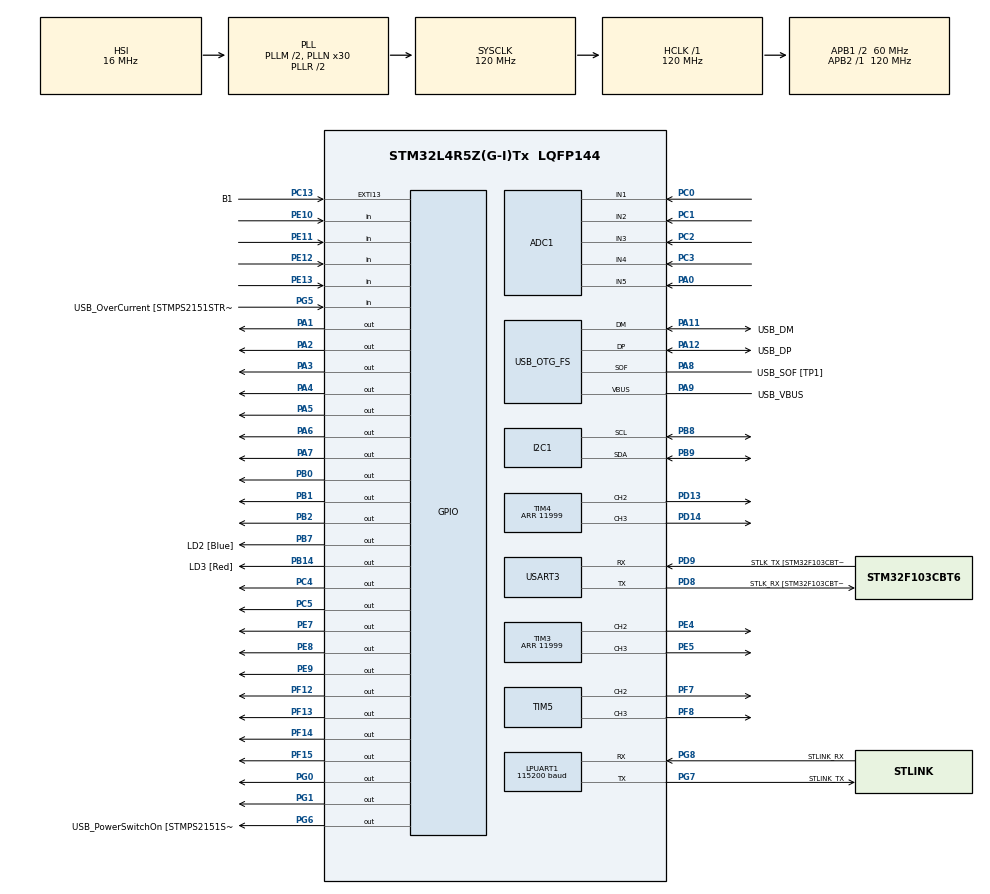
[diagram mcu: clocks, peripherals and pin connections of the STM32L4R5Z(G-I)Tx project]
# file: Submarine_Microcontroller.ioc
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ADC1.Channel-0\#ChannelRegularConversion=ADC_CHANNEL_1
ADC1.NbrOfConversionFlag=1
ADC1.OffsetNumber-0\#ChannelRegularConversion=ADC_OFFSET_NONE
ADC1.Rank-0\#ChannelRegularConversion=1
ADC1.SamplingTime-0\#ChannelRegularConversion=ADC_SAMPLETIME_2CYCLES_5
ADC1.master=1
I2C1.Timing=0x107075B0
LPUART1.BaudRate=115200
LPUART1.WordLength=UART_WORDLENGTH_8B
Mcu.Family=STM32L4
Mcu.Name=STM32L4R5Z(G-I)Tx
Mcu.Package=LQFP144
NVIC.LPUART1_IRQn=true\:0\:0\:false\:false\:true\:true\:true\:true
NVIC.PriorityGroup=NVIC_PRIORITYGROUP_4
PA0.Signal=ADCx_IN5
PA1.Signal=GPIO_Output
PA10.GPIO_Label=USB_ID
PA10.Signal=USB_OTG_FS_ID
PA11.GPIO_Label=USB_DM
PA11.Mode=Device_Only
PA11.Signal=USB_OTG_FS_DM
PA12.GPIO_Label=USB_DP
PA12.Mode=Device_Only
PA12.Signal=USB_OTG_FS_DP
PA13\ (JTMS/SWDIO).GPIO_Label=TMS
PA13\ (JTMS/SWDIO).Mode=Trace_Asynchronous_SW
PA13\ (JTMS/SWDIO).Signal=SYS_JTMS-SWDIO
PA14\ (JTCK/SWCLK).GPIO_Label=TCK
PA14\ (JTCK/SWCLK).Mode=Trace_Asynchronous_SW
PA14\ (JTCK/SWCLK).Signal=SYS_JTCK-SWCLK
PA2.Signal=GPIO_Output
PA3.Signal=GPIO_Output
PA4.Signal=GPIO_Output
PA5.Signal=GPIO_Output
PA6.Signal=GPIO_Output
PA7.Signal=GPIO_Output
PA8.GPIO_Label=USB_SOF [TP1]
PA8.Mode=Activate_SOF_FS
PA8.Signal=USB_OTG_FS_SOF
PA9.GPIO_Label=USB_VBUS
PA9.Mode=Activate_VBUS
PA9.Signal=USB_OTG_FS_VBUS
PB0.Signal=GPIO_Output
PB1.Signal=GPIO_Output
PB14.GPIO_Label=LD3 [Red]
PB14.Signal=GPIO_Output
PB2.Signal=GPIO_Output
PB3\ (JTDO/TRACESWO).GPIO_Label=SWO
PB3\ (JTDO/TRACESWO).Mode=Trace_Asynchronous_SW
PB3\ (JTDO/TRACESWO).Signal=SYS_JTDO-SWO
PB7.GPIO_Label=LD2 [Blue]
PB7.Signal=GPIO_Output
PB8.Mode=I2C
PB8.Signal=I2C1_SCL
PB9.Mode=I2C
PB9.Signal=I2C1_SDA
PC0.Signal=ADCx_IN1
PC1.Signal=ADCx_IN2
PC13.GPIO_Label=B1
PC13.Signal=GPXTI13
PC14-OSC32_IN\ (PC14).Signal=RCC_OSC32_IN
PC15-OSC32_OUT\ (PC15).Signal=RCC_OSC32_OUT
PC2.Signal=ADCx_IN3
PC3.Signal=ADCx_IN4
PC4.Signal=GPIO_Output
PC5.Signal=GPIO_Output
PD13.Signal=S_TIM4_CH2
PD14.Signal=S_TIM4_CH3
PD8.GPIO_Label=STLK_RX [STM32F103CBT6_PA3]
PD8.GPIO_Speed=GPIO_SPEED_FREQ_HIGH
PD8.Mode=Asynchronous
PD8.Signal=USART3_TX
PD9.GPIO_Label=STLK_TX [STM32F103CBT6_PA2]
PD9.GPIO_Speed=GPIO_SPEED_FREQ_HIGH
PD9.Mode=Asynchronous
PD9.Signal=USART3_RX
PE10.Signal=GPIO_Input
PE11.Signal=GPIO_Input
PE12.Signal=GPIO_Input
PE13.Signal=GPIO_Input
PE4.Signal=S_TIM3_CH2
PE5.Signal=S_TIM3_CH3
PE7.Signal=GPIO_Output
PE8.Signal=GPIO_Output
PE9.Signal=GPIO_Output
PF12.Signal=GPIO_Output
PF13.Signal=GPIO_Output
PF14.Signal=GPIO_Output
PF15.Signal=GPIO_Output
PF7.Signal=S_TIM5_CH2
PF8.Signal=S_TIM5_CH3
PG0.Signal=GPIO_Output
PG1.Signal=GPIO_Output
PG5.GPIO_Label=USB_OverCurrent [STMPS2151STR_FAULT]
PG5.Signal=GPIO_Input
PG6.GPIO_Label=USB_PowerSwitchOn [STMPS2151STR_EN]
PG6.Signal=GPIO_Output
PG7.GPIO_Label=STLINK_TX
PG7.Mode=Asynchronous
PG7.Signal=LPUART1_TX
PG8.GPIO_Label=STLINK_RX
PG8.Mode=Asynchronous
PG8.Signal=LPUART1_RX
PH0-OSC_IN\ (PH0).Mode=HSE-External-Oscillator
PH0-OSC_IN\ (PH0).Signal=RCC_OSC_IN
PH1-OSC_OUT\ (PH1).Mode=HSE-External-Oscillator
PH1-OSC_OUT\ (PH1).Signal=RCC_OSC_OUT
ProjectManager.HeapSize=0x200
ProjectManager.StackSize=0x400
ProjectManager.TargetToolchain=STM32CubeIDE
RCC.48MHZClocksFreq_Value=24000000
RCC.ADCFreq_Value=48000000
RCC.AHBFreq_Value=120000000
RCC.APB1CLKDivider=RCC_HCLK_DIV2
RCC.APB1Freq_Value=60000000
RCC.APB1TimFreq_Value=120000000
RCC.APB2Freq_Value=120000000
RCC.APB2TimFreq_Value=120000000
RCC.CK48CLockSelection=RCC_USBCLKSOURCE_HSI48
RCC.CortexFreq_Value=120000000
RCC.HCLKFreq_Value=120000000
RCC.HSE_VALUE=8000000
RCC.HSI48_VALUE=48000000
RCC.HSI_VALUE=16000000
RCC.LSE_VALUE=32768
RCC.MSI_VALUE=4000000
RCC.PLLM1=2
RCC.PLLM2=2
RCC.PLLMUL=RCC_PLL_MUL9
RCC.PLLN=30
RCC.PLLSAI1N=12
RCC.PLLSourceVirtual=RCC_PLLSOURCE_HSI
RCC.PRESCALERUSB=RCC_USBCLKSOURCE_PLL_DIV1_5
RCC.SYSCLKFreq_VALUE=120000000
RCC.SYSCLKSource=RCC_SYSCLKSOURCE_PLLCLK
RCC.SYSCLKSourceVirtual=RCC_SYSCLKSOURCE_PLLCLK
RCC.USBFreq_Value=48000000
RCC.VCOOutputFreq_Value=240000000
SH.ADCx_IN1.0=ADC1_IN1,IN1-Single-Ended
SH.ADCx_IN2.0=ADC1_IN2,IN2-Single-Ended
SH.ADCx_IN3.0=ADC1_IN3,IN3-Single-Ended
SH.ADCx_IN4.0=ADC1_IN4,IN4-Single-Ended
SH.ADCx_IN5.0=ADC1_IN5,IN5-Single-Ended
SH.S_TIM3_CH2.0=TIM3_CH2,PWM Generation2 CH2
SH.S_TIM3_CH3.0=TIM3_CH3,PWM Generation3 CH3
SH.S_TIM4_CH2.0=TIM4_CH2,PWM Generation2 CH2
SH.S_TIM4_CH3.0=TIM4_CH3,PWM Generation3 CH3
SH.S_TIM5_CH2.0=TIM5_CH2,PWM Generation2 CH2
SH.S_TIM5_CH3.0=TIM5_CH3,PWM Generation3 CH3
TIM3.AutoReloadPreload=TIM_AUTORELOAD_PRELOAD_ENABLE
TIM3.Channel-PWM\ Generation2\ CH2=TIM_CHANNEL_2
TIM3.Channel-PWM\ Generation3\ CH3=TIM_CHANNEL_3
TIM3.Period=11999
TIM4.AutoReloadPreload=TIM_AUTORELOAD_PRELOAD_ENABLE
TIM4.Channel-PWM\ Generation2\ CH2=TIM_CHANNEL_2
TIM4.Channel-PWM\ Generation3\ CH3=TIM_CHANNEL_3
TIM4.Period=11999
TIM5.Channel-PWM\ Generation2\ CH2=TIM_CHANNEL_2
TIM5.Channel-PWM\ Generation3\ CH3=TIM_CHANNEL_3
USART3.VirtualMode-Asynchronous=VM_ASYNC
USB_OTG_FS.VirtualMode=Device_Only
VP_TIM3_VS_ClockSourceINT.Mode=Internal
VP_TIM4_VS_ClockSourceINT.Mode=Internal
VP_TIM5_VS_ClockSourceINT.Mode=Internal
board=NUCLEO-L4R5ZI

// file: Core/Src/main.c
/* USER CODE BEGIN Header */
/**
  ******************************************************************************
  * @file           : main.c
  * @brief          : Main program body
  ******************************************************************************
  * @attention
  *
  * Copyright (c) 2023 STMicroelectronics.
  * All rights reserved.
  *
  * This software is licensed under terms that can be found in the LICENSE file
  * in the root directory of this software component.
  * If no LICENSE file comes with this software, it is provided AS-IS.
  *
  ******************************************************************************
  */
/* USER CODE END Header */
#include "main.h"

/* USER CODE BEGIN Includes */
#include "string.h"
#include "math.h"
#include "stdio.h"
/* USER CODE END Includes */

/* USER CODE BEGIN PD */
//GLOBAL I2C Addresses
#define ACCEL_GYRO_ADR 0x6a
#define MAG_ADR 0x1c

//gyro
#define OUTX_L_G (0x22 | 0x01)
#define OUTX_H_G (0x23 | 0x01)
#define OUTY_L_G (0x24 | 0x01)
#define OUTY_H_G (0x25 | 0x01)
#define OUTZ_L_G (0x26 | 0x01)
#define OUTZ_H_G (0x27 | 0x01)
//accel
#define OUTX_L_XL (0x28 | 0x01)
#define OUTX_H_XL (0x29 | 0x01)
#define OUTY_L_XL (0x2A | 0x01)
#define OUTY_H_XL (0x2B | 0x01)
#define OUTZ_L_XL (0x2C | 0x01)
#define OUTZ_H_XL (0x2D | 0x01)
//magentometer
#define OUT_X_L (0x28 | 0x01)
#define OUT_X_H (0x29 | 0x01)
#define OUT_Y_L (0x2A | 0x01)
#define OUT_Y_H (0x2B | 0x01)
#define OUT_Z_L (0x2C | 0x01)
#define OUT_Z_H (0x2D | 0x01)
/* USER CODE END PD */

ADC_HandleTypeDef hadc1;

I2C_HandleTypeDef hi2c1;

UART_HandleTypeDef hlpuart1;
UART_HandleTypeDef huart3;

TIM_HandleTypeDef htim3;
TIM_HandleTypeDef htim4;
TIM_HandleTypeDef htim5;

PCD_HandleTypeDef hpcd_USB_OTG_FS;

void SystemClock_Config(void);
static void MX_GPIO_Init(void);
static void MX_ADC1_Init(void);
static void MX_I2C1_Init(void);
static void MX_LPUART1_UART_Init(void);
static void MX_USART3_UART_Init(void);
static void MX_USB_OTG_FS_PCD_Init(void);
static void MX_TIM3_Init(void);
static void MX_TIM4_Init(void);
static void MX_TIM5_Init(void);
/* USER CODE BEGIN PFP */
uint8_t binaryToDecimal(int start_index, int bitCount);
HAL_StatusTypeDef imuRead(void);
void imuPullData(void);
uint16_t twosComptoDec(uint8_t low_reg, uint8_t high_reg);

void MTR_DRV_INIT(uint8_t currentValue, uint8_t decay, uint8_t reset, uint8_t sleep);

void parseComs(void);
void transmitData(void);

void updateProps(void);
/* USER CODE END PFP */

/* USER CODE BEGIN 0 */
uint8_t rx_received = 0;
char tx_buffer[100];
uint8_t rx_data[35];

//GLOBAL Coms Info
uint8_t depthUp = 0;
uint8_t depthDown = 0;
uint8_t captureImage = 0;
uint8_t forwardThrust = 128;
uint8_t turnThrust = 128;
uint8_t camUpDown = 128;
uint8_t camLeftRight = 128;

//GLOBAL Data info
uint16_t degreesNorth = 180;
float speedScalar = 10.4;
uint16_t depthApprox = 5;
uint16_t roll = 270;
uint16_t pitch = 270;
uint16_t yaw = 270;
float voltageBattery = 16.9;

//GLOBAL I2C pData registers
uint8_t x_ang_L;
uint8_t x_ang_H;
uint8_t y_ang_L;
uint8_t y_ang_H;
uint8_t z_ang_L;
uint8_t z_ang_H;

uint8_t x_lin_L;
uint8_t x_lin_H;
uint8_t y_lin_L;
uint8_t y_lin_H;
uint8_t z_lin_L;
uint8_t z_lin_H;

uint8_t x_mag_L;
uint8_t x_mag_H;
uint8_t y_mag_L;
uint8_t y_mag_H;
uint8_t z_mag_L;
uint8_t z_mag_H;

//GLOBAL IMU DOF
uint16_t x_ang;
uint16_t y_ang;
uint16_t z_ang;

uint16_t x_lin;
uint16_t y_lin;
uint16_t z_lin;

uint16_t x_mag;
uint16_t y_mag;
uint16_t z_mag;

//GLOBAL PWM
uint16_t ARR = 11999;

//GLOBAL Thrust
float leftThrust;
float rightThrust;
float forThrust;
float backThrust;
float leftPropThrust;
float rightPropThrust;

/* USER CODE END 0 */

int main(void)
{

  /* MCU Configuration--------------------------------------------------------*/

  /* Reset of all peripherals, Initializes the Flash interface and the Systick. */
  HAL_Init();

  /* Configure the system clock */
  SystemClock_Config();

  /* Initialize all configured peripherals */
  MX_GPIO_Init();
  MX_ADC1_Init();
  MX_I2C1_Init();
  MX_LPUART1_UART_Init();
  MX_USART3_UART_Init();
  MX_USB_OTG_FS_PCD_Init();
  MX_TIM3_Init();
  MX_TIM4_Init();
  MX_TIM5_Init();
  /* USER CODE BEGIN 2 */
	MTR_DRV_INIT(0x00, 0x00, 0x01, 0x01);
	HAL_UART_Receive_IT(&hlpuart1, rx_data, 35); //Init recieve global interupt for 35 bit buffer
	HAL_TIM_PWM_Start(&htim3, TIM_CHANNEL_2);
	HAL_TIM_PWM_Start(&htim3, TIM_CHANNEL_3);
	HAL_TIM_PWM_Start(&htim4, TIM_CHANNEL_2);
	HAL_TIM_PWM_Start(&htim4, TIM_CHANNEL_3);
	HAL_TIM_PWM_Start(&htim5, TIM_CHANNEL_2);
	HAL_TIM_PWM_Start(&htim5, TIM_CHANNEL_3);

  /* USER CODE END 2 */

  /* Infinite loop */
  /* USER CODE BEGIN WHILE */
  while (1)
  {

	if (rx_received) //New Transmission from RPI
    {
	  rx_received = 0;
	  parseComs();
	  //imuPullData();
	  updateProps();
	  transmitData();

	}

    /* USER CODE END WHILE */

  }
}

void SystemClock_Config(void)
{
  RCC_OscInitTypeDef RCC_OscInitStruct = {0};
  RCC_ClkInitTypeDef RCC_ClkInitStruct = {0};

  /** Configure the main internal regulator output voltage
  */
  if (HAL_PWREx_ControlVoltageScaling(PWR_REGULATOR_VOLTAGE_SCALE1_BOOST) != HAL_OK)
  {
    Error_Handler();
  }

  /** Initializes the RCC Oscillators according to the specified parameters
  * in the RCC_OscInitTypeDef structure.
  */
  RCC_OscInitStruct.OscillatorType = RCC_OSCILLATORTYPE_HSI48|RCC_OSCILLATORTYPE_HSI;
  RCC_OscInitStruct.HSIState = RCC_HSI_ON;
  RCC_OscInitStruct.HSI48State = RCC_HSI48_ON;
  RCC_OscInitStruct.HSICalibrationValue = RCC_HSICALIBRATION_DEFAULT;
  RCC_OscInitStruct.PLL.PLLState = RCC_PLL_ON;
  RCC_OscInitStruct.PLL.PLLSource = RCC_PLLSOURCE_HSI;
  RCC_OscInitStruct.PLL.PLLM = 2;
  RCC_OscInitStruct.PLL.PLLN = 30;
  RCC_OscInitStruct.PLL.PLLP = RCC_PLLP_DIV2;
  RCC_OscInitStruct.PLL.PLLQ = RCC_PLLQ_DIV2;
  RCC_OscInitStruct.PLL.PLLR = RCC_PLLR_DIV2;
  if (HAL_RCC_OscConfig(&RCC_OscInitStruct) != HAL_OK)
  {
    Error_Handler();
  }

  /** Initializes the CPU, AHB and APB buses clocks
  */
  RCC_ClkInitStruct.ClockType = RCC_CLOCKTYPE_HCLK|RCC_CLOCKTYPE_SYSCLK
                              |RCC_CLOCKTYPE_PCLK1|RCC_CLOCKTYPE_PCLK2;
  RCC_ClkInitStruct.SYSCLKSource = RCC_SYSCLKSOURCE_PLLCLK;
  RCC_ClkInitStruct.AHBCLKDivider = RCC_SYSCLK_DIV1;
  RCC_ClkInitStruct.APB1CLKDivider = RCC_HCLK_DIV2;
  RCC_ClkInitStruct.APB2CLKDivider = RCC_HCLK_DIV1;

  if (HAL_RCC_ClockConfig(&RCC_ClkInitStruct, FLASH_LATENCY_5) != HAL_OK)
  {
    Error_Handler();
  }
}

static void MX_ADC1_Init(void)
{

  ADC_ChannelConfTypeDef sConfig = {0};

  /** Common config
  */
  hadc1.Instance = ADC1;
  hadc1.Init.ClockPrescaler = ADC_CLOCK_ASYNC_DIV1;
  hadc1.Init.Resolution = ADC_RESOLUTION_12B;
  hadc1.Init.DataAlign = ADC_DATAALIGN_RIGHT;
  hadc1.Init.ScanConvMode = ADC_SCAN_DISABLE;
  hadc1.Init.EOCSelection = ADC_EOC_SINGLE_CONV;
  hadc1.Init.LowPowerAutoWait = DISABLE;
  hadc1.Init.ContinuousConvMode = DISABLE;
  hadc1.Init.NbrOfConversion = 1;
  hadc1.Init.DiscontinuousConvMode = DISABLE;
  hadc1.Init.ExternalTrigConv = ADC_SOFTWARE_START;
  hadc1.Init.ExternalTrigConvEdge = ADC_EXTERNALTRIGCONVEDGE_NONE;
  hadc1.Init.DMAContinuousRequests = DISABLE;
  hadc1.Init.Overrun = ADC_OVR_DATA_PRESERVED;
  hadc1.Init.OversamplingMode = DISABLE;
  hadc1.Init.DFSDMConfig = ADC_DFSDM_MODE_ENABLE;
  if (HAL_ADC_Init(&hadc1) != HAL_OK)
  {
    Error_Handler();
  }

  /** Configure Regular Channel
  */
  sConfig.Channel = ADC_CHANNEL_1;
  sConfig.Rank = ADC_REGULAR_RANK_1;
  sConfig.SamplingTime = ADC_SAMPLETIME_2CYCLES_5;
  sConfig.SingleDiff = ADC_SINGLE_ENDED;
  sConfig.OffsetNumber = ADC_OFFSET_NONE;
  sConfig.Offset = 0;
  if (HAL_ADC_ConfigChannel(&hadc1, &sConfig) != HAL_OK)
  {
    Error_Handler();
  }

}

static void MX_I2C1_Init(void)
{

  hi2c1.Instance = I2C1;
  hi2c1.Init.Timing = 0x107075B0;
  hi2c1.Init.OwnAddress1 = 0;
  hi2c1.Init.AddressingMode = I2C_ADDRESSINGMODE_7BIT;
  hi2c1.Init.DualAddressMode = I2C_DUALADDRESS_DISABLE;
  hi2c1.Init.OwnAddress2 = 0;
  hi2c1.Init.OwnAddress2Masks = I2C_OA2_NOMASK;
  hi2c1.Init.GeneralCallMode = I2C_GENERALCALL_DISABLE;
  hi2c1.Init.NoStretchMode = I2C_NOSTRETCH_DISABLE;
  if (HAL_I2C_Init(&hi2c1) != HAL_OK)
  {
    Error_Handler();
  }

  /** Configure Analogue filter
  */
  if (HAL_I2CEx_ConfigAnalogFilter(&hi2c1, I2C_ANALOGFILTER_ENABLE) != HAL_OK)
  {
    Error_Handler();
  }

  /** Configure Digital filter
  */
  if (HAL_I2CEx_ConfigDigitalFilter(&hi2c1, 0) != HAL_OK)
  {
    Error_Handler();
  }

}

static void MX_LPUART1_UART_Init(void)
{

  hlpuart1.Instance = LPUART1;
  hlpuart1.Init.BaudRate = 115200;
  hlpuart1.Init.WordLength = UART_WORDLENGTH_8B;
  hlpuart1.Init.StopBits = UART_STOPBITS_1;
  hlpuart1.Init.Parity = UART_PARITY_NONE;
  hlpuart1.Init.Mode = UART_MODE_TX_RX;
  hlpuart1.Init.HwFlowCtl = UART_HWCONTROL_NONE;
  hlpuart1.Init.OneBitSampling = UART_ONE_BIT_SAMPLE_DISABLE;
  hlpuart1.Init.ClockPrescaler = UART_PRESCALER_DIV1;
  hlpuart1.AdvancedInit.AdvFeatureInit = UART_ADVFEATURE_NO_INIT;
  hlpuart1.FifoMode = UART_FIFOMODE_DISABLE;
  if (HAL_UART_Init(&hlpuart1) != HAL_OK)
  {
    Error_Handler();
  }
  if (HAL_UARTEx_SetTxFifoThreshold(&hlpuart1, UART_TXFIFO_THRESHOLD_1_8) != HAL_OK)
  {
    Error_Handler();
  }
  if (HAL_UARTEx_SetRxFifoThreshold(&hlpuart1, UART_RXFIFO_THRESHOLD_1_8) != HAL_OK)
  {
    Error_Handler();
  }
  if (HAL_UARTEx_DisableFifoMode(&hlpuart1) != HAL_OK)
  {
    Error_Handler();
  }

}

static void MX_USART3_UART_Init(void)
{

  huart3.Instance = USART3;
  huart3.Init.BaudRate = 115200;
  huart3.Init.WordLength = UART_WORDLENGTH_8B;
  huart3.Init.StopBits = UART_STOPBITS_1;
  huart3.Init.Parity = UART_PARITY_NONE;
  huart3.Init.Mode = UART_MODE_TX_RX;
  huart3.Init.HwFlowCtl = UART_HWCONTROL_NONE;
  huart3.Init.OverSampling = UART_OVERSAMPLING_16;
  huart3.Init.OneBitSampling = UART_ONE_BIT_SAMPLE_DISABLE;
  huart3.Init.ClockPrescaler = UART_PRESCALER_DIV1;
  huart3.AdvancedInit.AdvFeatureInit = UART_ADVFEATURE_NO_INIT;
  if (HAL_UART_Init(&huart3) != HAL_OK)
  {
    Error_Handler();
  }
  if (HAL_UARTEx_SetTxFifoThreshold(&huart3, UART_TXFIFO_THRESHOLD_1_8) != HAL_OK)
  {
    Error_Handler();
  }
  if (HAL_UARTEx_SetRxFifoThreshold(&huart3, UART_RXFIFO_THRESHOLD_1_8) != HAL_OK)
  {
    Error_Handler();
  }
  if (HAL_UARTEx_DisableFifoMode(&huart3) != HAL_OK)
  {
    Error_Handler();
  }

}

static void MX_TIM3_Init(void)
{

  TIM_ClockConfigTypeDef sClockSourceConfig = {0};
  TIM_MasterConfigTypeDef sMasterConfig = {0};
  TIM_OC_InitTypeDef sConfigOC = {0};

  htim3.Instance = TIM3;
  htim3.Init.Prescaler = 0;
  htim3.Init.CounterMode = TIM_COUNTERMODE_UP;
  htim3.Init.Period = 11999;
  htim3.Init.ClockDivision = TIM_CLOCKDIVISION_DIV1;
  htim3.Init.AutoReloadPreload = TIM_AUTORELOAD_PRELOAD_ENABLE;
  if (HAL_TIM_Base_Init(&htim3) != HAL_OK)
  {
    Error_Handler();
  }
  sClockSourceConfig.ClockSource = TIM_CLOCKSOURCE_INTERNAL;
  if (HAL_TIM_ConfigClockSource(&htim3, &sClockSourceConfig) != HAL_OK)
  {
    Error_Handler();
  }
  if (HAL_TIM_PWM_Init(&htim3) != HAL_OK)
  {
    Error_Handler();
  }
  sMasterConfig.MasterOutputTrigger = TIM_TRGO_RESET;
  sMasterConfig.MasterSlaveMode = TIM_MASTERSLAVEMODE_DISABLE;
  if (HAL_TIMEx_MasterConfigSynchronization(&htim3, &sMasterConfig) != HAL_OK)
  {
    Error_Handler();
  }
  sConfigOC.OCMode = TIM_OCMODE_PWM1;
  sConfigOC.Pulse = 0;
  sConfigOC.OCPolarity = TIM_OCPOLARITY_HIGH;
  sConfigOC.OCFastMode = TIM_OCFAST_DISABLE;
  if (HAL_TIM_PWM_ConfigChannel(&htim3, &sConfigOC, TIM_CHANNEL_2) != HAL_OK)
  {
    Error_Handler();
  }
  if (HAL_TIM_PWM_ConfigChannel(&htim3, &sConfigOC, TIM_CHANNEL_3) != HAL_OK)
  {
    Error_Handler();
  }
  HAL_TIM_MspPostInit(&htim3);

}

static void MX_TIM4_Init(void)
{

  TIM_ClockConfigTypeDef sClockSourceConfig = {0};
  TIM_MasterConfigTypeDef sMasterConfig = {0};
  TIM_OC_InitTypeDef sConfigOC = {0};

  htim4.Instance = TIM4;
  htim4.Init.Prescaler = 0;
  htim4.Init.CounterMode = TIM_COUNTERMODE_UP;
  htim4.Init.Period = 11999;
  htim4.Init.ClockDivision = TIM_CLOCKDIVISION_DIV1;
  htim4.Init.AutoReloadPreload = TIM_AUTORELOAD_PRELOAD_ENABLE;
  if (HAL_TIM_Base_Init(&htim4) != HAL_OK)
  {
    Error_Handler();
  }
  sClockSourceConfig.ClockSource = TIM_CLOCKSOURCE_INTERNAL;
  if (HAL_TIM_ConfigClockSource(&htim4, &sClockSourceConfig) != HAL_OK)
  {
    Error_Handler();
  }
  if (HAL_TIM_PWM_Init(&htim4) != HAL_OK)
  {
    Error_Handler();
  }
  sMasterConfig.MasterOutputTrigger = TIM_TRGO_RESET;
  sMasterConfig.MasterSlaveMode = TIM_MASTERSLAVEMODE_DISABLE;
  if (HAL_TIMEx_MasterConfigSynchronization(&htim4, &sMasterConfig) != HAL_OK)
  {
    Error_Handler();
  }
  sConfigOC.OCMode = TIM_OCMODE_PWM1;
  sConfigOC.Pulse = 0;
  sConfigOC.OCPolarity = TIM_OCPOLARITY_HIGH;
  sConfigOC.OCFastMode = TIM_OCFAST_DISABLE;
  if (HAL_TIM_PWM_ConfigChannel(&htim4, &sConfigOC, TIM_CHANNEL_2) != HAL_OK)
  {
    Error_Handler();
  }
  if (HAL_TIM_PWM_ConfigChannel(&htim4, &sConfigOC, TIM_CHANNEL_3) != HAL_OK)
  {
    Error_Handler();
  }
  HAL_TIM_MspPostInit(&htim4);

}

static void MX_TIM5_Init(void)
{

  TIM_ClockConfigTypeDef sClockSourceConfig = {0};
  TIM_MasterConfigTypeDef sMasterConfig = {0};
  TIM_OC_InitTypeDef sConfigOC = {0};

  htim5.Instance = TIM5;
  htim5.Init.Prescaler = 0;
  htim5.Init.CounterMode = TIM_COUNTERMODE_UP;
  htim5.Init.Period = 4294967295;
  htim5.Init.ClockDivision = TIM_CLOCKDIVISION_DIV1;
  htim5.Init.AutoReloadPreload = TIM_AUTORELOAD_PRELOAD_DISABLE;
  if (HAL_TIM_Base_Init(&htim5) != HAL_OK)
  {
    Error_Handler();
  }
  sClockSourceConfig.ClockSource = TIM_CLOCKSOURCE_INTERNAL;
  if (HAL_TIM_ConfigClockSource(&htim5, &sClockSourceConfig) != HAL_OK)
  {
    Error_Handler();
  }
  if (HAL_TIM_PWM_Init(&htim5) != HAL_OK)
  {
    Error_Handler();
  }
  sMasterConfig.MasterOutputTrigger = TIM_TRGO_RESET;
  sMasterConfig.MasterSlaveMode = TIM_MASTERSLAVEMODE_DISABLE;
  if (HAL_TIMEx_MasterConfigSynchronization(&htim5, &sMasterConfig) != HAL_OK)
  {
    Error_Handler();
  }
  sConfigOC.OCMode = TIM_OCMODE_PWM1;
  sConfigOC.Pulse = 0;
  sConfigOC.OCPolarity = TIM_OCPOLARITY_HIGH;
  sConfigOC.OCFastMode = TIM_OCFAST_DISABLE;
  if (HAL_TIM_PWM_ConfigChannel(&htim5, &sConfigOC, TIM_CHANNEL_2) != HAL_OK)
  {
    Error_Handler();
  }
  if (HAL_TIM_PWM_ConfigChannel(&htim5, &sConfigOC, TIM_CHANNEL_3) != HAL_OK)
  {
    Error_Handler();
  }
  HAL_TIM_MspPostInit(&htim5);

}

static void MX_USB_OTG_FS_PCD_Init(void)
{

  hpcd_USB_OTG_FS.Instance = USB_OTG_FS;
  hpcd_USB_OTG_FS.Init.dev_endpoints = 6;
  hpcd_USB_OTG_FS.Init.phy_itface = PCD_PHY_EMBEDDED;
  hpcd_USB_OTG_FS.Init.Sof_enable = ENABLE;
  hpcd_USB_OTG_FS.Init.low_power_enable = DISABLE;
  hpcd_USB_OTG_FS.Init.lpm_enable = DISABLE;
  hpcd_USB_OTG_FS.Init.battery_charging_enable = ENABLE;
  hpcd_USB_OTG_FS.Init.use_dedicated_ep1 = DISABLE;
  hpcd_USB_OTG_FS.Init.vbus_sensing_enable = ENABLE;
  if (HAL_PCD_Init(&hpcd_USB_OTG_FS) != HAL_OK)
  {
    Error_Handler();
  }

}

static void MX_GPIO_Init(void)
{
  GPIO_InitTypeDef GPIO_InitStruct = {0};

  /* GPIO Ports Clock Enable */
  __HAL_RCC_GPIOE_CLK_ENABLE();
  __HAL_RCC_GPIOC_CLK_ENABLE();
  __HAL_RCC_GPIOF_CLK_ENABLE();
  __HAL_RCC_GPIOH_CLK_ENABLE();
  __HAL_RCC_GPIOA_CLK_ENABLE();
  __HAL_RCC_GPIOB_CLK_ENABLE();
  __HAL_RCC_GPIOG_CLK_ENABLE();
  __HAL_RCC_GPIOD_CLK_ENABLE();
  HAL_PWREx_EnableVddIO2();

  /*Configure GPIO pin Output Level */
  HAL_GPIO_WritePin(GPIOA, GPIO_PIN_1|GPIO_PIN_2|GPIO_PIN_3|GPIO_PIN_4
                          |GPIO_PIN_5|GPIO_PIN_6|GPIO_PIN_7, GPIO_PIN_RESET);

  /*Configure GPIO pin Output Level */
  HAL_GPIO_WritePin(GPIOC, GPIO_PIN_4|GPIO_PIN_5, GPIO_PIN_RESET);

  /*Configure GPIO pin Output Level */
  HAL_GPIO_WritePin(GPIOB, GPIO_PIN_0|GPIO_PIN_1|GPIO_PIN_2|LD3_Pin
                          |LD2_Pin, GPIO_PIN_RESET);

  /*Configure GPIO pin Output Level */
  HAL_GPIO_WritePin(GPIOF, GPIO_PIN_12|GPIO_PIN_13|GPIO_PIN_14|GPIO_PIN_15, GPIO_PIN_RESET);

  /*Configure GPIO pin Output Level */
  HAL_GPIO_WritePin(GPIOG, GPIO_PIN_0|GPIO_PIN_1|USB_PowerSwitchOn_Pin, GPIO_PIN_RESET);

  /*Configure GPIO pin Output Level */
  HAL_GPIO_WritePin(GPIOE, GPIO_PIN_7|GPIO_PIN_8|GPIO_PIN_9, GPIO_PIN_RESET);

  /*Configure GPIO pin : B1_Pin */
  GPIO_InitStruct.Pin = B1_Pin;
  GPIO_InitStruct.Mode = GPIO_MODE_IT_RISING;
  GPIO_InitStruct.Pull = GPIO_NOPULL;
  HAL_GPIO_Init(B1_GPIO_Port, &GPIO_InitStruct);

  /*Configure GPIO pins : PA1 PA2 PA3 PA4
                           PA5 PA6 PA7 */
  GPIO_InitStruct.Pin = GPIO_PIN_1|GPIO_PIN_2|GPIO_PIN_3|GPIO_PIN_4
                          |GPIO_PIN_5|GPIO_PIN_6|GPIO_PIN_7;
  GPIO_InitStruct.Mode = GPIO_MODE_OUTPUT_PP;
  GPIO_InitStruct.Pull = GPIO_NOPULL;
  GPIO_InitStruct.Speed = GPIO_SPEED_FREQ_LOW;
  HAL_GPIO_Init(GPIOA, &GPIO_InitStruct);

  /*Configure GPIO pins : PC4 PC5 */
  GPIO_InitStruct.Pin = GPIO_PIN_4|GPIO_PIN_5;
  GPIO_InitStruct.Mode = GPIO_MODE_OUTPUT_PP;
  GPIO_InitStruct.Pull = GPIO_NOPULL;
  GPIO_InitStruct.Speed = GPIO_SPEED_FREQ_LOW;
  HAL_GPIO_Init(GPIOC, &GPIO_InitStruct);

  /*Configure GPIO pins : PB0 PB1 PB2 LD3_Pin
                           LD2_Pin */
  GPIO_InitStruct.Pin = GPIO_PIN_0|GPIO_PIN_1|GPIO_PIN_2|LD3_Pin
                          |LD2_Pin;
  GPIO_InitStruct.Mode = GPIO_MODE_OUTPUT_PP;
  GPIO_InitStruct.Pull = GPIO_NOPULL;
  GPIO_InitStruct.Speed = GPIO_SPEED_FREQ_LOW;
  HAL_GPIO_Init(GPIOB, &GPIO_InitStruct);

  /*Configure GPIO pins : PF12 PF13 PF14 PF15 */
  GPIO_InitStruct.Pin = GPIO_PIN_12|GPIO_PIN_13|GPIO_PIN_14|GPIO_PIN_15;
  GPIO_InitStruct.Mode = GPIO_MODE_OUTPUT_PP;
  GPIO_InitStruct.Pull = GPIO_NOPULL;
  GPIO_InitStruct.Speed = GPIO_SPEED_FREQ_LOW;
  HAL_GPIO_Init(GPIOF, &GPIO_InitStruct);

  /*Configure GPIO pins : PG0 PG1 USB_PowerSwitchOn_Pin */
  GPIO_InitStruct.Pin = GPIO_PIN_0|GPIO_PIN_1|USB_PowerSwitchOn_Pin;
  GPIO_InitStruct.Mode = GPIO_MODE_OUTPUT_PP;
  GPIO_InitStruct.Pull = GPIO_NOPULL;
  GPIO_InitStruct.Speed = GPIO_SPEED_FREQ_LOW;
  HAL_GPIO_Init(GPIOG, &GPIO_InitStruct);

  /*Configure GPIO pins : PE7 PE8 PE9 */
  GPIO_InitStruct.Pin = GPIO_PIN_7|GPIO_PIN_8|GPIO_PIN_9;
  GPIO_InitStruct.Mode = GPIO_MODE_OUTPUT_PP;
  GPIO_InitStruct.Pull = GPIO_NOPULL;
  GPIO_InitStruct.Speed = GPIO_SPEED_FREQ_LOW;
  HAL_GPIO_Init(GPIOE, &GPIO_InitStruct);

  /*Configure GPIO pins : PE10 PE11 PE12 PE13 */
  GPIO_InitStruct.Pin = GPIO_PIN_10|GPIO_PIN_11|GPIO_PIN_12|GPIO_PIN_13;
  GPIO_InitStruct.Mode = GPIO_MODE_INPUT;
  GPIO_InitStruct.Pull = GPIO_NOPULL;
  HAL_GPIO_Init(GPIOE, &GPIO_InitStruct);

  /*Configure GPIO pin : USB_OverCurrent_Pin */
  GPIO_InitStruct.Pin = USB_OverCurrent_Pin;
  GPIO_InitStruct.Mode = GPIO_MODE_INPUT;
  GPIO_InitStruct.Pull = GPIO_NOPULL;
  HAL_GPIO_Init(USB_OverCurrent_GPIO_Port, &GPIO_InitStruct);

}

/* USER CODE BEGIN 4 */
void HAL_UART_RxCpltCallback(UART_HandleTypeDef *huart)
{
	UNUSED(huart); //waring suppresion

	//HAL_GPIO_TogglePin(GPIOB, GPIO_PIN_14); //toggle LED for dev
	rx_received = 1;//set flag for use in while loop
	HAL_GPIO_TogglePin(GPIOB, GPIO_PIN_14); //toggle LED for dev
	HAL_UART_Receive_IT(&hlpuart1, rx_data, 35); //reset UART interupt for next transmission
}

uint8_t binaryToDecimal(int start_index, int bitCount)
{
	//MSB is on the left so we start high and go low on the exp
	uint8_t result = 0;
	for (int i = bitCount - 1; i >= 0; i--)
	{
		if (rx_data[start_index + i] == 49)
		{
			result += pow(2, 7 - i);
		}
	}
	return result;
}

HAL_StatusTypeDef imuRead(void)
{
		/*
			HAL_StatusTypeDef HAL_I2C_Mem_Read	(	I2C_HandleTypeDef * 	hi2c,
																						uint16_t 	DevAddress,
																						uint16_t 	MemAddress,
																						uint16_t 	MemAddSize,
																						uint8_t * 	pData,
																						uint16_t 	Size,
																						uint32_t 	Timeout
)
		*/

	HAL_StatusTypeDef retVal = HAL_OK;

	//Gyro
	if (HAL_I2C_Mem_Read(&hi2c1, ACCEL_GYRO_ADR, OUTX_L_G, 1, &x_ang_L, sizeof(x_ang_L), 10) != HAL_OK) retVal = HAL_ERROR;
	if (HAL_I2C_Mem_Read(&hi2c1, ACCEL_GYRO_ADR, OUTX_H_G, 1, &x_ang_H, sizeof(x_ang_H), 10) != HAL_OK) retVal = HAL_ERROR;
	if (HAL_I2C_Mem_Read(&hi2c1, ACCEL_GYRO_ADR, OUTY_L_G, 1, &y_ang_L, sizeof(y_ang_L), 10) != HAL_OK) retVal = HAL_ERROR;
	if (HAL_I2C_Mem_Read(&hi2c1, ACCEL_GYRO_ADR, OUTY_H_G, 1, &y_ang_H, sizeof(y_ang_H), 10) != HAL_OK) retVal = HAL_ERROR;
	if (HAL_I2C_Mem_Read(&hi2c1, ACCEL_GYRO_ADR, OUTZ_L_G, 1, &z_ang_L, sizeof(z_ang_L), 10) != HAL_OK) retVal = HAL_ERROR;
	if (HAL_I2C_Mem_Read(&hi2c1, ACCEL_GYRO_ADR, OUTZ_H_G, 1, &z_ang_H, sizeof(z_ang_H), 10) != HAL_OK) retVal = HAL_ERROR;
	//Accel
	if (HAL_I2C_Mem_Read(&hi2c1, ACCEL_GYRO_ADR, OUTX_L_XL, 1, &x_lin_L, sizeof(x_lin_L), 10) != HAL_OK) retVal = HAL_ERROR;
	if (HAL_I2C_Mem_Read(&hi2c1, ACCEL_GYRO_ADR, OUTX_H_XL, 1, &x_lin_H, sizeof(x_lin_H), 10) != HAL_OK) retVal = HAL_ERROR;
	if (HAL_I2C_Mem_Read(&hi2c1, ACCEL_GYRO_ADR, OUTY_L_XL, 1, &y_lin_L, sizeof(y_lin_L), 10) != HAL_OK) retVal = HAL_ERROR;
	if (HAL_I2C_Mem_Read(&hi2c1, ACCEL_GYRO_ADR, OUTY_H_XL, 1, &y_lin_H, sizeof(y_lin_H), 10) != HAL_OK) retVal = HAL_ERROR;
	if (HAL_I2C_Mem_Read(&hi2c1, ACCEL_GYRO_ADR, OUTZ_L_XL, 1, &z_lin_L, sizeof(z_lin_L), 10) != HAL_OK) retVal = HAL_ERROR;
	if (HAL_I2C_Mem_Read(&hi2c1, ACCEL_GYRO_ADR, OUTZ_H_XL, 1, &z_lin_H, sizeof(z_lin_H), 10) != HAL_OK) retVal = HAL_ERROR;
	//Magnet
	if (HAL_I2C_Mem_Read(&hi2c1, MAG_ADR, OUT_X_L, 1, &x_mag_L, sizeof(x_mag_L), 10) != HAL_OK) retVal = HAL_ERROR;
	if (HAL_I2C_Mem_Read(&hi2c1, MAG_ADR, OUT_X_H, 1, &x_mag_H, sizeof(x_mag_H), 10) != HAL_OK) retVal = HAL_ERROR;
	if (HAL_I2C_Mem_Read(&hi2c1, MAG_ADR, OUT_Y_L, 1, &y_mag_L, sizeof(y_mag_L), 10) != HAL_OK) retVal = HAL_ERROR;
	if (HAL_I2C_Mem_Read(&hi2c1, MAG_ADR, OUT_Y_H, 1, &y_mag_H, sizeof(y_mag_H), 10) != HAL_OK) retVal = HAL_ERROR;
	if (HAL_I2C_Mem_Read(&hi2c1, MAG_ADR, OUT_Z_L, 1, &z_mag_L, sizeof(z_mag_L), 10) != HAL_OK) retVal = HAL_ERROR;
	if (HAL_I2C_Mem_Read(&hi2c1, MAG_ADR, OUT_Z_H, 1, &z_mag_H, sizeof(z_mag_H), 10) != HAL_OK) retVal = HAL_ERROR;

	return retVal;
}

void imuPullData(void)
{
  //Begin reading IMU data
	if (imuRead() == HAL_OK) //If reading without error
	{
		HAL_GPIO_TogglePin(GPIOB, GPIO_PIN_14); //toggle LED for dev
		x_ang = twosComptoDec(x_ang_L, x_ang_H);//get xyz values for all 9DOF
		y_ang = twosComptoDec(y_ang_L, y_ang_H);//will need to do further calc for position, rotation, compass
		z_ang = twosComptoDec(z_ang_L, z_ang_H);

		x_lin = twosComptoDec(x_lin_L, x_lin_H);
		y_lin = twosComptoDec(y_lin_L, y_lin_H);
		z_lin = twosComptoDec(z_lin_L, z_lin_H);

		x_mag = twosComptoDec(x_mag_L, x_mag_H);
		y_mag = twosComptoDec(y_mag_L, y_mag_H);
		z_mag = twosComptoDec(z_mag_L, z_mag_H);
	}
}

uint16_t twosComptoDec(uint8_t low_reg, uint8_t high_reg)
{
	uint16_t combined = ((uint16_t)high_reg << 8) | low_reg;
	if ((combined & 0x8000) == 0) return combined; //negative if top bit is 1
	else return -(~combined + 1);
}

void MTR_DRV_INIT(uint8_t currentValue, uint8_t decay, uint8_t reset, uint8_t sleep)
{
  //Current Set
  /*
    xI1 xI0 current
    0b00 -> 0x0 -> 100%
    0b01 -> 0x1 -> 71%
    0b10 -> 0x2 -> 38%
    0b11 -> 0x3 -> 0%

    AI1 -> PF13
    AI0 -> PF14
    BI1 -> PF15
    BI0 -> PG0

  */
  //xI1
  HAL_GPIO_WritePin(GPIOF, GPIO_PIN_13, (currentValue>>1) & ~0x01);
  HAL_GPIO_WritePin(GPIOF, GPIO_PIN_15, (currentValue>>1) & ~0x01);
  //xI0
  HAL_GPIO_WritePin(GPIOF, GPIO_PIN_14, (currentValue) & ~0x01);
  HAL_GPIO_WritePin(GPIOG, GPIO_PIN_0, (currentValue) & ~0x01);

  //Decay
  HAL_GPIO_WritePin(GPIOE, GPIO_PIN_8, decay);

  //Reset
  HAL_GPIO_WritePin(GPIOG, GPIO_PIN_1, reset);

  //Sleep
  HAL_GPIO_WritePin(GPIOE, GPIO_PIN_7, sleep);

}

void updateProps(void)
{

  //Convert coms thrust vals in percentages for f,b,l,r
  leftThrust = ((float)(-turnThrust + 128))/256.0; // 0% <-> 50%
  rightThrust = ((float)(turnThrust - 128))/256.0; // 0% <-> 50%
  forThrust = ((float)(forwardThrust - 128))/256.0; // 0% <-> 50%
  backThrust = ((float)(-forwardThrust + 128))/256.0; // 0% <-> 50%

  //mix individual thrust values into
  leftPropThrust = leftThrust - rightThrust + forThrust - backThrust; // -100% <-> 100%
  rightPropThrust = rightThrust - leftThrust + forThrust - backThrust; // -100% <-> 100%
  /*
  //LEFT PROP SET DC (TIM3_CH2 = forward) (TIM3_CH3 = backward)
  if (leftPropThrust >= 0)
  {
    TIM3->CCR2 = leftPropThrust*ARR;
    TIM3->CCR3 = 0;
  }
  else
  {
    TIM3->CCR3 = -leftPropThrust*ARR;
    TIM3->CCR2 = 0;
  }

  //RIGHT PROP SET DC (TIM4_CH2 = forward) (TIM4_CH3 = backward)
  if (rightPropThrust >= 0)
  {
    TIM4->CCR2 = rightPropThrust*ARR;
    TIM4->CCR3 = 0;
  }
  else
  {
    TIM4->CCR3 = -rightPropThrust*ARR;
    TIM4->CCR2 = 0;
  }
  */
}

void parseComs(void)
{
  //Coms parsing

  if (rx_data[0] == 48)
  {
  	depthUp = 0;
  }
  else if (rx_data[0] == 49)
  {
  	depthUp = 1;
  }

  if (rx_data[1] == 48)
  {
  	depthDown = 0;
  }
  else if (rx_data[1] == 49)
  {
  	depthDown = 1;
  }

  if (rx_data[2] == 48)
  {
  	captureImage = 0;
  }
  else if (rx_data[2] == 49)
  {
  	captureImage = 1;
  }

	forwardThrust = binaryToDecimal(3, 8);
	turnThrust = binaryToDecimal(11, 8);
	camUpDown = binaryToDecimal(19, 8);
	camLeftRight = binaryToDecimal(27, 8);
}

void transmitData(void)
{
	//Data concat

	// For actual communication back to RPI (STILL USING TEST DATA)(This sprintf call works)
	sprintf(tx_buffer, "%u,%u,%u,%u,%u,%u,%u\n\r", degreesNorth, (uint16_t)(10*speedScalar), depthApprox, roll, pitch, yaw, (uint16_t)(10*voltageBattery));

	// For reading the i2c values on the RPI
	//sprintf(tx_buffer, "%u,%u,%u,%u,%u,%u,%u,%u,%u\n\r", x_ang, y_ang, z_ang, x_lin, y_lin, z_lin, x_mag, y_mag, z_mag );

  //sprintf(tx_buffer, "%u,%u,%u,%u,%u,%u\n\r", (uint8_t)leftThrust*100, (uint8_t)rightThrust*100, (uint8_t)forThrust*100, (uint8_t)backThrust*100, (uint8_t)leftPropThrust*100, (uint8_t)rightPropThrust*100);

	//sprintf(tx_buffer, "%u,%u,%u,%u,%u,%u,%u\n\r", depthUp, depthDown, captureImage, forwardThrust, turnThrust, camUpDown, camLeftRight);

  HAL_UART_Transmit(&hlpuart1, (uint8_t *)tx_buffer, sizeof(tx_buffer), 10);
}

/* USER CODE END 4 */

void Error_Handler(void)
{
  __disable_irq();
  while (1)
  {
  }
}
